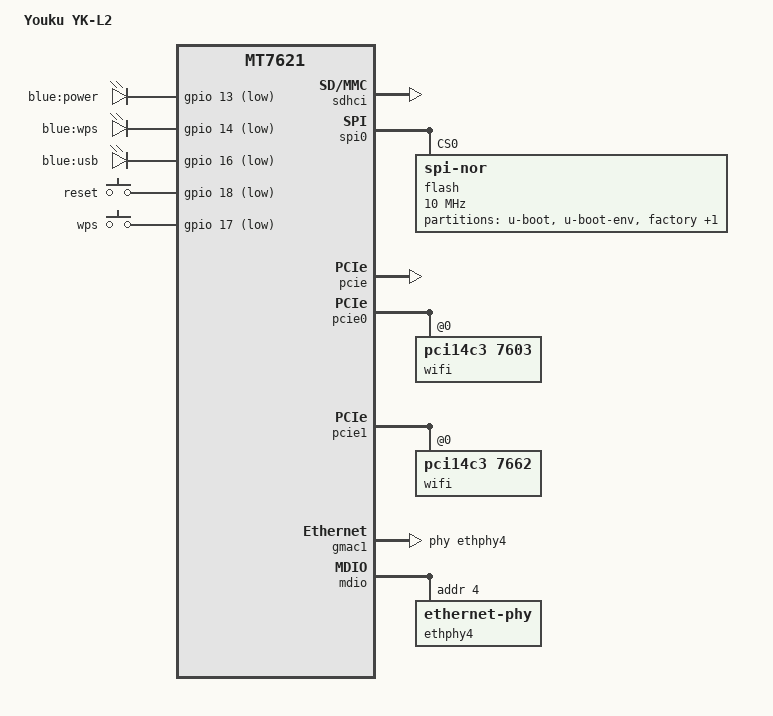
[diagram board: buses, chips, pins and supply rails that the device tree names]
// SPDX-License-Identifier: GPL-2.0-or-later OR MIT

#include "mt7621.dtsi"

#include <dt-bindings/gpio/gpio.h>
#include <dt-bindings/input/input.h>

/ {
	compatible = "youku,yk-l2", "mediatek,mt7621-soc";
	model = "Youku YK-L2";

	aliases {
		led-boot = &led_power;
		led-failsafe = &led_power;
		led-running = &led_power;
		led-upgrade = &led_wps;
	};

	chosen {
		bootargs = "console=ttyS0,115200";
	};

	leds {
		compatible = "gpio-leds";

		led_power: power {
			label = "blue:power";
			gpios = <&gpio 13 GPIO_ACTIVE_LOW>;
			default-state = "on";
		};

		led_wps: wps {
			label = "blue:wps";
			gpios = <&gpio 14 GPIO_ACTIVE_LOW>;
		};

		usb {
			label = "blue:usb";
			gpios = <&gpio 16 GPIO_ACTIVE_LOW>;
			trigger-sources = <&xhci_ehci_port1>, <&ehci_port2>;
			linux,default-trigger = "usbport";
		};
	};

	keys {
		compatible = "gpio-keys";

		reset {
			label = "reset";
			gpios = <&gpio 18 GPIO_ACTIVE_LOW>;
			linux,code = <KEY_RESTART>;
		};

		wps {
			label = "wps";
			gpios = <&gpio 17 GPIO_ACTIVE_LOW>;
			linux,code = <KEY_WPS_BUTTON>;
		};
	};
};

&sdhci {
	status = "okay";
};

&spi0 {
	status = "okay";

	flash@0 {
		compatible = "jedec,spi-nor";
		reg = <0>;
		spi-max-frequency = <10000000>;

		partitions {
			compatible = "fixed-partitions";
			#address-cells = <1>;
			#size-cells = <1>;

			partition@0 {
				label = "u-boot";
				reg = <0x0 0x30000>;
				read-only;
			};

			partition@30000 {
				label = "u-boot-env";
				reg = <0x30000 0x10000>;
				read-only;
			};

			factory: partition@40000 {
				label = "factory";
				reg = <0x40000 0x10000>;
				read-only;
			};

			partition@50000 {
				compatible = "openwrt,uimage", "denx,uimage";
				label = "firmware";
				openwrt,ih-magic = <0x12291000>;
				reg = <0x50000 0xfb0000>;
			};
		};
	};
};

&pcie {
	status = "okay";
};

&pcie0 {
	wifi@0,0 {
		compatible = "pci14c3,7603";
		reg = <0x0000 0 0 0 0>;
		mediatek,mtd-eeprom = <&factory 0x0000>;
		ieee80211-freq-limit = <2400000 2500000>;
		led {
			led-active-low;
		};
	};
};

&pcie1 {
	wifi@0,0 {
		compatible = "pci14c3,7662";
		reg = <0x0000 0 0 0 0>;
		mediatek,mtd-eeprom = <&factory 0x8000>;
		ieee80211-freq-limit = <5000000 6000000>;
		led {
			led-sources = <2>;
			led-active-low;
		};
	};
};

&gmac0 {
	nvmem-cells = <&macaddr_factory_e000>;
	nvmem-cell-names = "mac-address";
};

&gmac1 {
	status = "okay";
	label = "wan";
	phy-handle = <&ethphy4>;

	nvmem-cells = <&macaddr_factory_e006>;
	nvmem-cell-names = "mac-address";
};

&mdio {
	ethphy4: ethernet-phy@4 {
		reg = <4>;
	};
};

&switch0 {
	ports {
		port@0 {
			status = "okay";
			label = "lan1";
		};

		port@1 {
			status = "okay";
			label = "lan2";
		};

		port@2 {
			status = "okay";
			label = "lan3";
		};

		port@3 {
			status = "okay";
			label = "lan4";
		};
	};
};

&state_default {
	gpio {
		groups = "jtag", "wdt";
		function = "gpio";
	};
};

&factory {
	compatible = "nvmem-cells";
	#address-cells = <1>;
	#size-cells = <1>;

	macaddr_factory_e000: macaddr@e000 {
		reg = <0xe000 0x6>;
	};

	macaddr_factory_e006: macaddr@e006 {
		reg = <0xe006 0x6>;
	};
};
